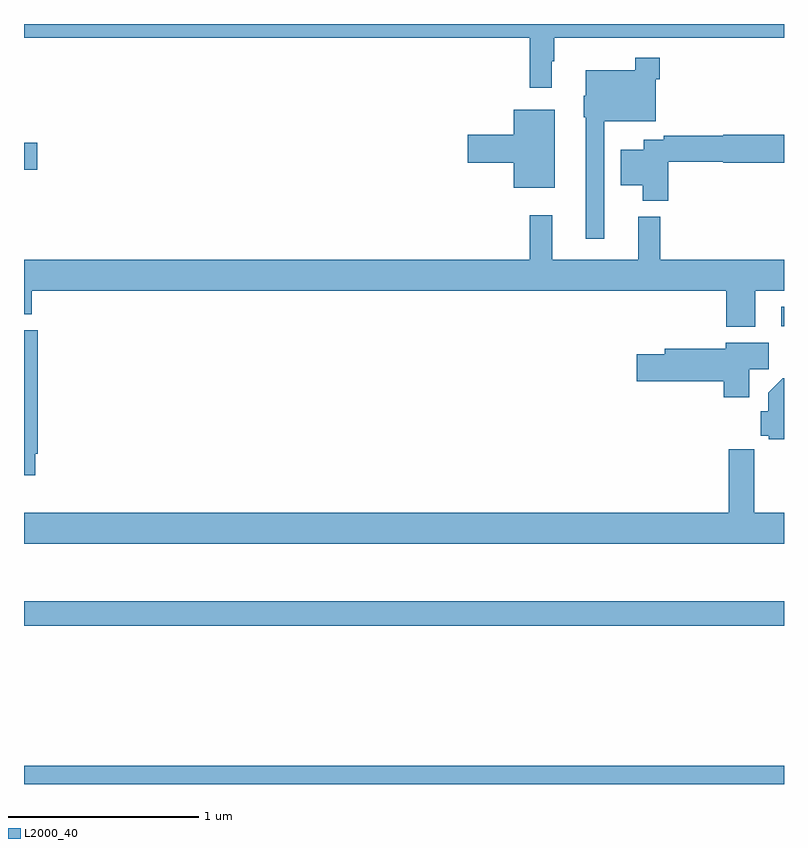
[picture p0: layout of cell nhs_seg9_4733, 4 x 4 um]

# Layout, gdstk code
import gdstk
lib = gdstk.Library(unit=1e-6, precision=1e-09)
def R(c, l, rs):  # rectangles x0, y0, x1, y1
    for r in rs: c.add(gdstk.rectangle(r[:2], r[2:], *l))
def P(c, l, *ps):  # polygons
    for p in ps: c.add(gdstk.Polygon(p, *l))
L2000_40 = (2000, 40)

nhs_seg9_4733 = lib.new_cell('nhs_seg9_4733')
R(nhs_seg9_4733, L2000_40, [(385,1184.5,389,1184.596), (385,1185.334,389,1185.463), (388.985,1186.908,389,1187.011), (385,1187.734,385.069,1187.876)])
P(nhs_seg9_4733, L2000_40, [(387.778,1188.305),(387.79,1188.305),(387.79,1188.428),(389,1188.428),(389,1188.5),(385,1188.5),(385,1188.428),(387.661,1188.428),(387.661,1188.165),(387.778,1188.165)],
  [(388.053,1187.987),(388.326,1187.987),(388.326,1188.209),(388.346,1188.209),(388.346,1188.322),(388.218,1188.322),(388.218,1188.256),(387.956,1188.256),(387.956,1188.123),(387.947,1188.123),(387.947,1188.009),(387.956,1188.009),(387.956,1187.37),(388.053,1187.37)],
  [(387.793,1188.049),(387.578,1188.049),(387.578,1187.918),(387.336,1187.918),(387.336,1187.771),(387.578,1187.771),(387.578,1187.639),(387.793,1187.639)],
  [(388.391,1187.776),(388.68,1187.776),(388.68,1187.771),(389,1187.771),(389,1187.918),(388.68,1187.918),(388.68,1187.912),(388.366,1187.912),(388.366,1187.892),(388.262,1187.892),(388.262,1187.839),(388.142,1187.839),(388.142,1187.651),(388.256,1187.651),(388.256,1187.57),(388.391,1187.57)],
  [(388.849,1187.096),(389,1187.096),(389,1187.26),(388.349,1187.26),(388.349,1187.485),(388.232,1187.485),(388.232,1187.26),(387.779,1187.26),(387.779,1187.494),(387.661,1187.494),(387.661,1187.26),(385,1187.26),(385,1186.972),(385.04,1186.972),(385.04,1187.096),(388.697,1187.096),(388.697,1186.907),(388.849,1186.907)],
  [(385.06,1186.237),(385.073,1186.237),(385.073,1186.887),(385,1186.887),(385,1186.125),(385.06,1186.125)],
  [(388.816,1186.684),(388.921,1186.684),(388.921,1186.822),(388.694,1186.822),(388.694,1186.791),(388.373,1186.791),(388.373,1186.761),(388.224,1186.761),(388.224,1186.619),(388.682,1186.619),(388.682,1186.536),(388.816,1186.536)],
  [(389,1186.636),(388.994,1186.636),(388.916,1186.558),(388.916,1186.462),(388.878,1186.462),(388.878,1186.334),(388.92,1186.334),(388.92,1186.315),(389,1186.315)],
  [(389,1185.928),(388.844,1185.928),(388.844,1186.148),(388.843,1186.148),(388.843,1186.261),(388.708,1186.261),(388.708,1185.928),(385,1185.928),(385,1185.764),(389,1185.764)])

lib.write_gds('nhs_seg9_4733.gds')
